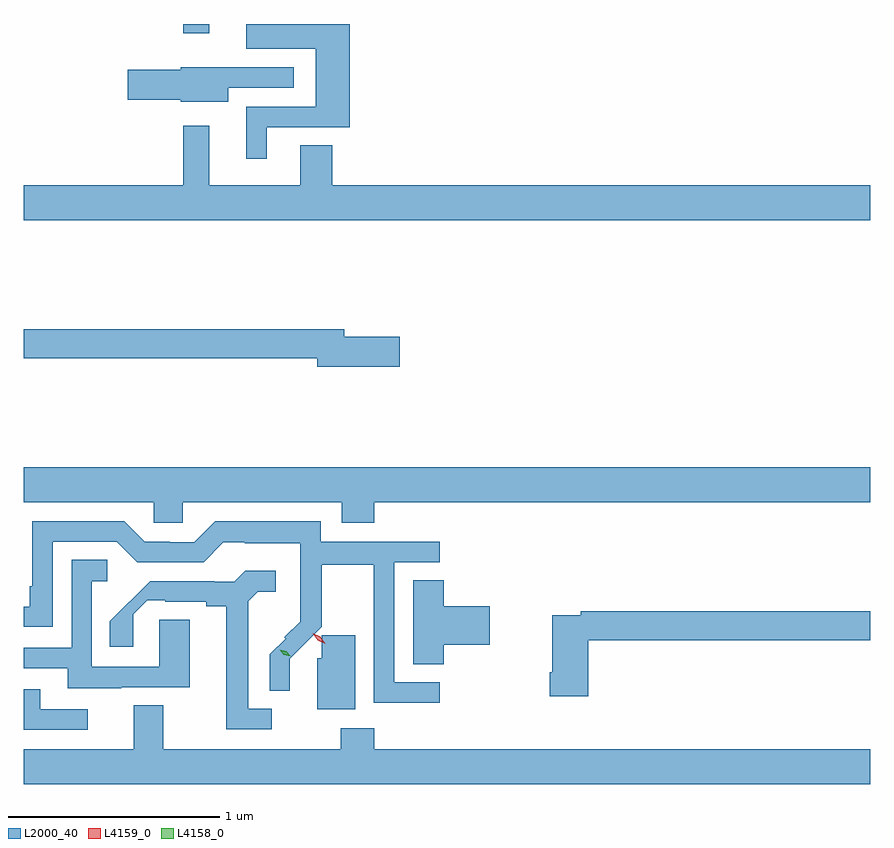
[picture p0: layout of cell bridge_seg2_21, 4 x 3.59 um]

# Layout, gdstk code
import gdstk
lib = gdstk.Library(unit=1e-6, precision=1e-09)
def R(c, l, rs):  # rectangles x0, y0, x1, y1
    for r in rs: c.add(gdstk.rectangle(r[:2], r[2:], *l))
def P(c, l, *ps):  # polygons
    for p in ps: c.add(gdstk.Polygon(p, *l))
L2000_40 = (2000, 40)
L4158_0 = (4158, 0)
L4159_0 = (4159, 0)

bridge_seg2_21 = lib.new_cell('bridge_seg2_21')
R(bridge_seg2_21, L2000_40, [(734.808,609.891,734.929,609.934)])
P(bridge_seg2_21, L2000_40, [(735.202,609.447),(735.593,609.447),(735.593,609.934),(735.104,609.934),(735.104,609.818),(735.434,609.818),(735.434,609.543),(735.104,609.543),(735.104,609.297),(735.202,609.297)],
  [(735.019,609.633),(735.328,609.633),(735.328,609.729),(735.015,609.729),(735.015,609.73),(734.796,609.73),(734.796,609.719),(734.544,609.719),(734.544,609.577),(734.796,609.577),(734.796,609.566),(735.019,609.566)],
  [(738.053,609.172),(735.512,609.172),(735.512,609.362),(735.359,609.362),(735.359,609.172),(734.929,609.172),(734.929,609.454),(734.808,609.454),(734.808,609.172),(734.053,609.172),(734.053,609.008),(738.053,609.008)],
  [(735.829,608.456),(735.568,608.456),(735.568,608.492),(734.053,608.492),(734.053,608.356),(735.44,608.356),(735.44,608.314),(735.829,608.314)],
  [(735.71,607.676),(738.053,607.676),(738.053,607.84),(734.053,607.84),(734.053,607.676),(734.667,607.676),(734.667,607.578),(734.805,607.578),(734.805,607.676),(735.557,607.676),(735.557,607.577),(735.71,607.577)],
  [(736.018,606.825),(735.804,606.825),(735.804,607.392),(736.018,607.392),(736.018,607.488),(735.456,607.488),(735.456,607.585),(734.959,607.585),(734.859,607.485),(734.744,607.485),(734.744,607.488),(734.625,607.488),(734.529,607.584),(734.094,607.584),(734.094,607.279),(734.081,607.279),(734.081,607.182),(734.053,607.182),(734.053,607.086),(734.19,607.086),(734.19,607.488),(734.493,607.488),(734.589,607.392),(734.904,607.392),(734.997,607.485),(735.097,607.485),(735.097,607.481),(735.359,607.481),(735.359,607.111),(735.285,607.037),(735.291,607.031),(735.216,606.956),(735.216,606.784),(735.311,606.784),(735.311,606.936),(735.461,607.086),(735.461,607.38),(735.706,607.38),(735.706,607.156),(735.708,607.156),(735.708,606.727),(736.018,606.727)],
  [(734.515,606.801),(734.839,606.801),(734.839,607.121),(734.693,607.121),(734.693,606.897),(734.376,606.897),(734.376,607.302),(734.449,607.302),(734.449,607.403),(734.28,607.403),(734.28,606.987),(734.053,606.987),(734.053,606.891),(734.261,606.891),(734.261,606.797),(734.515,606.797)],
  [(735.226,606.699),(735.115,606.699),(735.115,607.207),(735.16,607.252),(735.244,607.252),(735.244,607.351),(735.1,607.351),(735.048,607.299),(734.954,607.299),(734.954,607.302),(734.651,607.302),(734.461,607.112),(734.461,606.993),(734.571,606.993),(734.571,607.146),(734.637,607.212),(734.722,607.212),(734.722,607.206),(734.915,607.206),(734.915,607.184),(735.011,607.184),(735.011,606.603),(735.226,606.603)],
  [(736.037,607.001),(736.255,607.001),(736.255,607.184),(736.037,607.184),(736.037,607.307),(735.893,607.307),(735.893,606.91),(736.037,606.91)],
  [(736.721,607.024),(738.053,607.024),(738.053,607.16),(736.684,607.16),(736.684,607.14),(736.55,607.14),(736.55,606.871),(736.538,606.871),(736.538,606.759),(736.721,606.759)],
  [(735.619,607.046),(735.462,607.046),(735.462,606.938),(735.441,606.938),(735.441,606.698),(735.619,606.698)],
  [(734.356,606.696),(734.131,606.696),(734.131,606.792),(734.053,606.792),(734.053,606.6),(734.356,606.6)],
  [(738.053,606.508),(735.71,606.508),(735.71,606.607),(735.55,606.607),(735.55,606.508),(734.713,606.508),(734.713,606.716),(734.573,606.716),(734.573,606.508),(734.053,606.508),(734.053,606.344),(738.053,606.344)])
P(bridge_seg2_21, L4158_0, [(735.314,606.948),(735.283,606.955),(735.262,606.978),(735.262,606.978),(735.262,606.979),(735.293,606.972),(735.314,606.948),(735.314,606.948)])
P(bridge_seg2_21, L4159_0, [(735.479,607.007),(735.442,607.024),(735.418,607.056),(735.418,607.057),(735.418,607.057),(735.455,607.039),(735.479,607.007),(735.479,607.007)])

lib.write_gds('bridge_seg2_21.gds')
